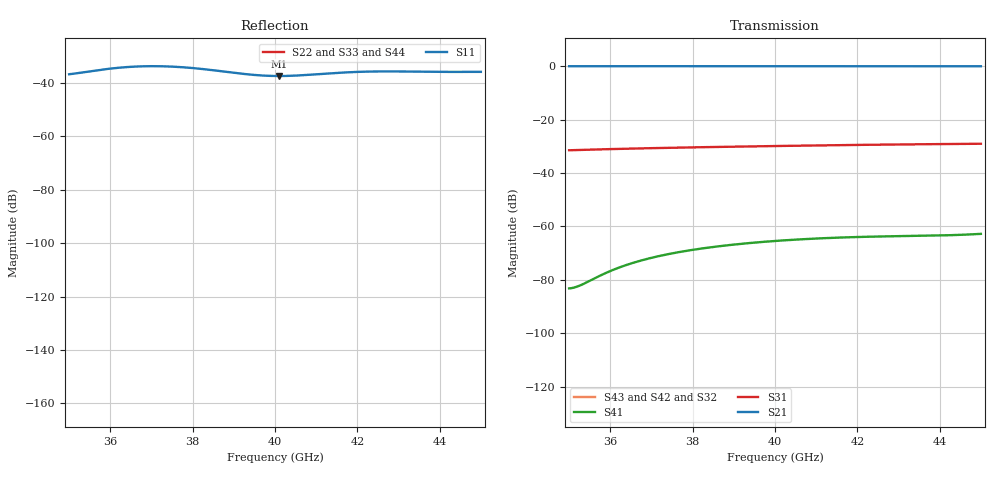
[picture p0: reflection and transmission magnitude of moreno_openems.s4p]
! Moreno cross-guide coupler, openEMS FDTD
! only column 1 (port 1 excited) and, by reciprocity, row 1 are simulated; other entries are zero
! S-parameters are normalised to each port's TE10 wave impedance (generalised
! S-matrix); 'R 50' below is only the placeholder the format requires.
! Reference planes: edges of the common a x a square.
# GHz S MA R 50
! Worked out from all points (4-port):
!   201 points, 35 GHz to 45 GHz, reference 50 ohm
!   strongest paths, dB at 35 GHz, 37.5 GHz, 40 GHz, 42.5 GHz, 45 GHz:
!     S21: 0.0, 0.0, 0.0, 0.0, 0.0
!     S31: -31.5, -30.5, -29.9, -29.4, -29.0
!     S41: -83.2, -70.1, -65.5, -63.8, -62.8
!     S43: -, -, -, -, -
!     S42: -, -, -, -, -
!     S32: -, -, -, -, -
!   lowest |S11| = -37.4 dB at 40.1 GHz (marker M1), VSWR 1.03, Z = 51.3 + j0.478 ohm
!   |S11| at or under -10 dB: start of sweep to end of sweep
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35  0.01459 -142.1  0.9987 -159.8  0.02664 110.3  6.905e-05 -114.5
    0.9987 -159.8  0 0.0  0 0.0  0 0.0
    0.02664 110.3  0 0.0  0 0.0  0 0.0
    6.905e-05 -114.5  0 0.0  0 0.0  0 0.0
35.55  0.01674 -119.4  1 -165.6  0.02742 104.5  0.0001002 -170.9
       1 -165.6  0 0.0  0 0.0  0 0.0
       0.02742 104.5  0 0.0  0 0.0  0 0.0
       0.0001002 -170.9  0 0.0  0 0.0  0 0.0
36.25  0.01946 -98.6  1.001 -172.8  0.02832 97.3  0.0001737 153.3
       1.001 -172.8  0 0.0  0 0.0  0 0.0
       0.02832 97.3  0 0.0  0 0.0  0 0.0
       0.0001737 153.3  0 0.0  0 0.0  0 0.0
37.1  0.02066 -78.7  1 178.7  0.02929 88.7  0.0002691 127.6
      1 178.7  0 0.0  0 0.0  0 0.0
      0.02929 88.7  0 0.0  0 0.0  0 0.0
      0.0002691 127.6  0 0.0  0 0.0  0 0.0
40.1  0.01352 20.2  0.9992 150.0  0.03207 60.0  0.0005404 70.3
      0.9992 150.0  0 0.0  0 0.0  0 0.0
      0.03207 60.0  0 0.0  0 0.0  0 0.0
      0.0005404 70.3  0 0.0  0 0.0  0 0.0
42.65  0.01649 108.0  1 126.6  0.034 36.6  0.00065 35.7
       1 126.6  0 0.0  0 0.0  0 0.0
       0.034 36.6  0 0.0  0 0.0  0 0.0
       0.00065 35.7  0 0.0  0 0.0  0 0.0
45  0.01617 -178.7  0.9972 105.8  0.03529 15.8  0.0007252 15.1
    0.9972 105.8  0 0.0  0 0.0  0 0.0
    0.03529 15.8  0 0.0  0 0.0  0 0.0
    0.0007252 15.1  0 0.0  0 0.0  0 0.0
